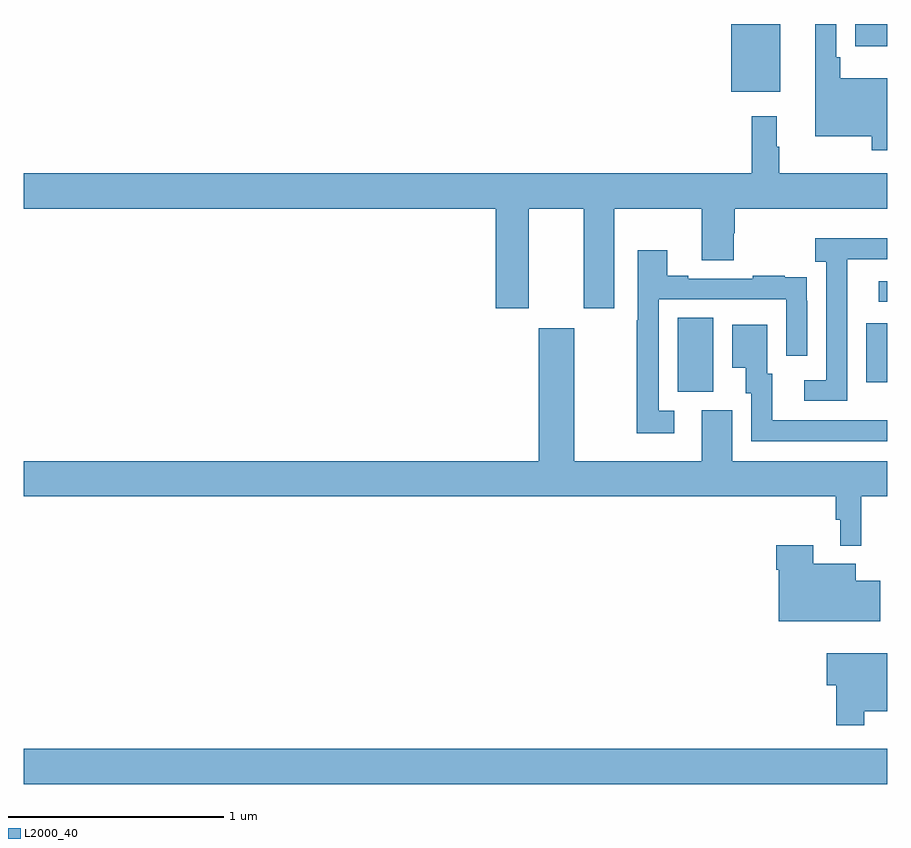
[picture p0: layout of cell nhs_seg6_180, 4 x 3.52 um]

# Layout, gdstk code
import gdstk
lib = gdstk.Library(unit=1e-6, precision=1e-09)
def R(c, l, rs):  # rectangles x0, y0, x1, y1
    for r in rs: c.add(gdstk.rectangle(r[:2], r[2:], *l))
def P(c, l, *ps):  # polygons
    for p in ps: c.add(gdstk.Polygon(p, *l))
L2000_40 = (2000, 40)

nhs_seg6_180 = lib.new_cell('nhs_seg6_180')
R(nhs_seg6_180, L2000_40, [(119,969.98,123,970.144), (122.03,971.797,122.194,972.14), (122.903,971.841,123,972.115), (122.961,972.213,123,972.309), (122.276,973.187,122.503,973.5), (122.852,973.397,123,973.5)])
P(nhs_seg6_180, L2000_40, [(123,973.249),(122.783,973.249),(122.783,973.345),(122.763,973.345),(122.763,973.5),(122.666,973.5),(122.666,972.98),(122.928,972.98),(122.928,972.915),(123,972.915)],
  [(121.339,972.644),(121.595,972.644),(121.595,972.183),(121.735,972.183),(121.735,972.644),(122.141,972.644),(122.141,972.406),(122.289,972.406),(122.289,972.531),(122.294,972.531),(122.294,972.644),(123,972.644),(123,972.808),(122.5,972.808),(122.5,972.932),(122.488,972.932),(122.488,973.072),(122.371,973.072),(122.371,972.808),(119,972.808),(119,972.644),(121.187,972.644),(121.187,972.183),(121.339,972.183)],
  [(122.814,972.211),(122.815,972.211),(122.815,972.411),(123,972.411),(123,972.508),(122.667,972.508),(122.667,972.398),(122.718,972.398),(122.718,971.85),(122.616,971.85),(122.616,971.754),(122.814,971.754)],
  [(122.014,971.709),(121.941,971.709),(121.941,972.225),(122.532,972.225),(122.532,971.964),(122.628,971.964),(122.628,972.218),(122.627,972.218),(122.627,972.327),(122.525,972.327),(122.525,972.334),(122.377,972.334),(122.377,972.321),(122.077,972.321),(122.077,972.334),(121.981,972.334),(121.981,972.451),(121.845,972.451),(121.845,972.128),(121.84,972.128),(121.84,971.604),(122.014,971.604)],
  [(123,971.665),(122.951,971.665),(122.951,971.664),(122.467,971.664),(122.467,971.88),(122.443,971.88),(122.443,972.106),(122.282,972.106),(122.282,971.909),(122.345,971.909),(122.345,971.79),(122.37,971.79),(122.37,971.568),(123,971.568)],
  [(122.879,971.312),(123,971.312),(123,971.476),(122.281,971.476),(122.281,971.712),(122.141,971.712),(122.141,971.476),(121.549,971.476),(121.549,972.091),(121.385,972.091),(121.385,971.476),(119,971.476),(119,971.312),(122.761,971.312),(122.761,971.205),(122.781,971.205),(122.781,971.084),(122.879,971.084)],
  [(122.968,970.921),(122.854,970.921),(122.854,970.999),(122.656,970.999),(122.656,971.086),(122.486,971.086),(122.486,970.973),(122.498,970.973),(122.498,970.733),(122.968,970.733)],
  [(122.893,970.316),(123,970.316),(123,970.585),(122.72,970.585),(122.72,970.438),(122.764,970.438),(122.764,970.251),(122.893,970.251)])

lib.write_gds('nhs_seg6_180.gds')
